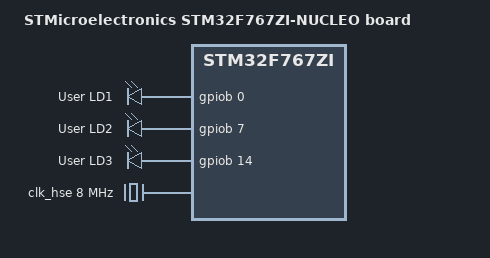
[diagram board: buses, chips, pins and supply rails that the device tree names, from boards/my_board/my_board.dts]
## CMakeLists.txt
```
cmake_minimum_required(VERSION 3.20.0)

list(APPEND BOARD_ROOT ${CMAKE_CURRENT_SOURCE_DIR})
find_package(Zephyr REQUIRED)
project(my_zephyr_app)

target_sources(app PRIVATE src/main.cpp src/sensor_shell.c)

add_subdirectory(drivers/our_driver)
```

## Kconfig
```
config APP_HEARTBEAT_PERIOD_MS
    int "Heartbeat LED period (ms)"
    default 500
    range 100 2000
    help
      Defines the blink period for the heartbeat LED in milliseconds.

source "Kconfig.zephyr"
rsource "drivers/our_driver/Kconfig"
```

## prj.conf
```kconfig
CONFIG_GPIO=y
CONFIG_LOG=y
# CONFIG_BLINK_SLEEP_500MS=y
CONFIG_OUR_DRIVER=y

CONFIG_SHELL=y
CONFIG_SENSOR=y
CONFIG_CONSOLE=y
CONFIG_UART_CONSOLE=y
```

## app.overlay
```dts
/ {
    aliases {
        app-led = &green_led;
    };
    // leds: leds {
	// 	compatible = "gpio-leds";

	// 	green_led: led_0 {
	// 		gpios = <&gpiob 0 GPIO_ACTIVE_HIGH>;
	// 		label = "User LD1";
	// 	};

	// 	blue_led: led_1 {
	// 		gpios = <&gpiob 7 GPIO_ACTIVE_HIGH>;
	// 		label = "User LD2";
	// 	};

	// 	red_led: led_2 {
	// 		gpios = <&gpiob 14 GPIO_ACTIVE_HIGH>;
	// 		label = "User LD3";
	// 	};
	// };
    our_driver0: our_driver {
        compatible = "our,driver";
        led-gpios = <&gpiob 7 GPIO_ACTIVE_HIGH>;
        status = "okay";
    };
};
```

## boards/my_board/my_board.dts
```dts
/dts-v1/;
#include <st/f7/stm32f767Xi.dtsi>
#include <st/f7/stm32f767zitx-pinctrl.dtsi>

/ {
    model = "STMicroelectronics STM32F767ZI-NUCLEO board";
	compatible = "st,stm32f767zi-nucleo";

	chosen {
		zephyr,console = &usart3;
		zephyr,shell-uart = &usart3;
		zephyr,sram = &sram0;
		zephyr,flash = &flash0;
		zephyr,code-partition = &slot0_partition;
	};

    leds: leds {
		compatible = "gpio-leds";

		green_led: led_0 {
			gpios = <&gpiob 0 GPIO_ACTIVE_HIGH>;
			label = "User LD1";
		};

		blue_led: led_1 {
			gpios = <&gpiob 7 GPIO_ACTIVE_HIGH>;
			label = "User LD2";
		};

		red_led: led_2 {
			gpios = <&gpiob 14 GPIO_ACTIVE_HIGH>;
			label = "User LD3";
		};
	};

    aliases {
		led0 = &green_led;
		led1 = &blue_led;
		led2 = &red_led;
	};
};

&clk_lsi {
	status = "okay";
};

&clk_hse {
	hse-bypass;
	clock-frequency = <DT_FREQ_M(8)>; /* STLink 8MHz clock */
	status = "okay";
};

&pll {
	div-m = <4>;
	mul-n = <216>;
	div-p = <2>;
	div-q = <9>;
	clocks = <&clk_hse>;
	status = "okay";
};

&rcc {
	clocks = <&pll>;
	clock-frequency = <DT_FREQ_M(216)>;
	ahb-prescaler = <1>;
	apb1-prescaler = <4>;
	apb2-prescaler = <2>;
};

&flash0 {
	partitions {
		compatible = "fixed-partitions";
		#address-cells = <1>;
		#size-cells = <1>;

		/*
		 * The two sectors 0-1 (32+32 kbytes) are reserved for
		 * the bootloader.
		 */
		boot_partition: partition@0 {
			label = "mcuboot";
			reg = <0x0 DT_SIZE_K(64)>;
			read-only;
		};

		/*
		 * The flash starting at offset 0x10000 and ending at
		 * offset 0x1ffff is reserved for use by the application.
		 * This represents sectors 2-3 (32+32 kbytes)
		 */
		storage_partition: partition@10000 {
			label = "storage";
			reg = <0x00010000 DT_SIZE_K(64)>;
		};

		/*
		 * Sector 4 (128 kbytes) unallocated.
		 */

		/*
		 * Allocated 3 (256k x 3) sectors for image-0. Sectors 5-7.
		 */
		slot0_partition: partition@40000 {
			label = "image-0";
			reg = <0x00040000 DT_SIZE_K(768)>;
		};

		/*
		 * Allocated 3 (256k x 3) sectors for image-1. Sectors 8-10.
		 */
		slot1_partition: partition@100000 {
			label = "image-1";
			reg = <0x00100000 DT_SIZE_K(768)>;
		};

		/*
		 * Allocated 1 (256k) sector for image-scratch. Sector 11.
		 */
		scratch_partition: partition@1C0000 {
			label = "image-scratch";
			reg = <0x001C0000 DT_SIZE_K(256)>;
		};
	};
};
```

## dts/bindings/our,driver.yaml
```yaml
description : Our Simple GPIO driver
compatible : "our,driver"
include : base.yaml

properties:
  led-gpios:
    type: phandle-array
    required: true
    description: GPIO used by the driver LED
```

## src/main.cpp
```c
#include "zephyr/device.h"
#include "zephyr/devicetree.h"
#include "zephyr/drivers/sensor.h"
#include <zephyr/drivers/gpio.h>
#include <zephyr/kernel.h>
#include <zephyr/logging/log.h>
// #define SLEEP_TIME_MS 1000

#include "our_driver.h"

/* The devicetree node identifier for the "led0" alias. */
#define LED_NODE DT_ALIAS(app_led)

static const struct gpio_dt_spec led = GPIO_DT_SPEC_GET(LED_NODE, gpios);

LOG_MODULE_REGISTER(main, LOG_LEVEL_INF);

namespace {
    void test(){
        const struct device* driver = DEVICE_DT_GET(DT_NODELABEL(our_driver0));
        struct sensor_value val ;
        auto ret = sensor_sample_fetch(driver);
        k_sleep(K_MSEC(1000));
        ret = sensor_channel_get(driver , SENSOR_CHAN_AMBIENT_TEMP, &val) ;
        LOG_INF("Channel ret %d" , ret) ;
    }
}


int main(void)
{
    const struct device *driver =
        DEVICE_DT_GET(DT_NODELABEL(our_driver0));

    if (!device_is_ready(driver))
    {
        LOG_ERR("Driver not ready");
        return 0;
    }

    our_driver_set_blink_period(driver, 500);

    while (1)
    {
        test();
        k_msleep(1000);
    }

    return 0;
}
```

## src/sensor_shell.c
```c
#include <stdlib.h>

#include <zephyr/device.h>
#include <zephyr/shell/shell.h>

#include "our_driver.h"

static const struct device *sensor_dev = DEVICE_DT_GET(DT_NODELABEL(our_driver0));

static int cmd_set(const struct shell *sh, size_t argc, char **argv)
{
    ARG_UNUSED(argc);

    long value = strtol(argv[1], NULL, 10);

    if (value < 100 || value > 5000)
    {
        shell_error(sh, "Value must be between 100 and 5000 ms");
        return -EINVAL;
    }

    int ret = our_driver_set_blink_period(sensor_dev, (uint32_t)value);

    if (ret)
    {
        shell_error(sh, "Failed to set value (%d)", ret);
        return ret;
    }

    shell_print(sh, "Blink period set to %ld ms", value);

    return 0;
}

SHELL_STATIC_SUBCMD_SET_CREATE(
    sensor_cmds,

    SHELL_CMD_ARG(set, NULL, "Set blink period", cmd_set, 2, 0),

    SHELL_SUBCMD_SET_END);

SHELL_CMD_REGISTER(sensor, &sensor_cmds, "Sensor commands", NULL);
```
